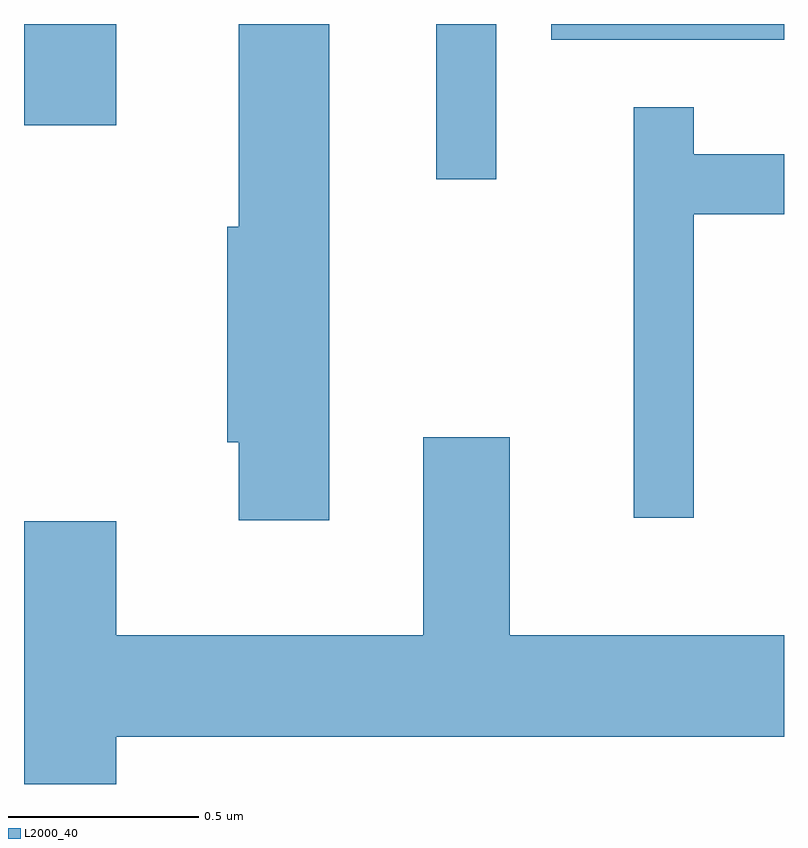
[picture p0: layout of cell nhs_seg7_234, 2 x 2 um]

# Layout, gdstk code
import gdstk
lib = gdstk.Library(unit=1e-6, precision=1e-09)
def R(c, l, rs):  # rectangles x0, y0, x1, y1
    for r in rs: c.add(gdstk.rectangle(r[:2], r[2:], *l))
def P(c, l, *ps):  # polygons
    for p in ps: c.add(gdstk.Polygon(p, *l))
L2000_40 = (2000, 40)

nhs_seg7_234 = lib.new_cell('nhs_seg7_234')
R(nhs_seg7_234, L2000_40, [(187.696,1766.843,187.854,1767.252), (186.611,1766.986,186.854,1767.252), (187.998,1767.211,188.611,1767.252)])
P(nhs_seg7_234, L2000_40, [(187.414,1767.252),(187.176,1767.252),(187.176,1766.719),(187.146,1766.719),(187.146,1766.151),(187.176,1766.151),(187.176,1765.946),(187.414,1765.946)],
  [(188.374,1766.751),(188.611,1766.751),(188.611,1766.909),(188.374,1766.909),(188.374,1767.033),(188.216,1767.033),(188.216,1765.953),(188.374,1765.953)],
  [(186.854,1765.376),(188.611,1765.376),(188.611,1765.644),(187.889,1765.644),(187.889,1766.164),(187.661,1766.164),(187.661,1765.644),(186.854,1765.644),(186.854,1765.944),(186.611,1765.944),(186.611,1765.252),(186.854,1765.252)])

lib.write_gds('nhs_seg7_234.gds')
